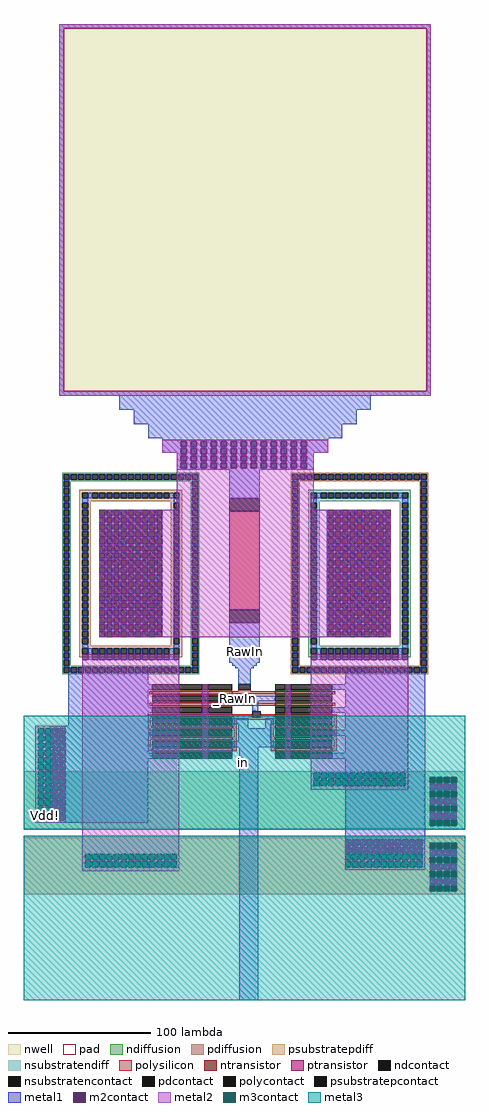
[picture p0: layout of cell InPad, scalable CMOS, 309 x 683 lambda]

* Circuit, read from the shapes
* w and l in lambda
.subckt InPad GND! RawIn Vdd! _RawIn in
M1 in _RawIn GND! GND! nfet w=40 l=2 m=4
M2 _RawIn RawIn GND! GND! nfet w=40 l=2 m=2
M3 in _RawIn Vdd! Vdd! pfet w=56 l=2 m=4
M4 _RawIn RawIn Vdd! Vdd! pfet w=56 l=2 m=2
.ends

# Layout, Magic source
magic
tech scmos
<< ntransistor >>
rect 144 -152 184 -150
rect 144 -160 184 -158
rect 144 -168 184 -166
rect 144 -176 184 -174
rect 144 -184 184 -182
rect 144 -192 184 -190
<< ptransistor >>
rect 58 -152 114 -150
rect 58 -160 114 -158
rect 58 -168 114 -166
rect 58 -176 114 -174
rect 58 -184 114 -182
rect 58 -192 114 -190
<< ndiffusion >>
rect 151 -149 155 -145
rect 144 -150 184 -149
rect 144 -153 184 -152
rect 144 -158 184 -157
rect 144 -161 184 -160
rect 151 -165 155 -161
rect 144 -166 184 -165
rect 144 -169 184 -168
rect 144 -174 184 -173
rect 144 -177 184 -176
rect 151 -181 155 -177
rect 144 -182 184 -181
rect 144 -185 184 -184
rect 144 -190 184 -189
rect 144 -193 184 -192
rect 151 -197 155 -193
<< pdiffusion >>
rect 93 -149 97 -145
rect 58 -150 114 -149
rect 58 -153 114 -152
rect 58 -158 114 -157
rect 58 -161 114 -160
rect 93 -165 97 -161
rect 58 -166 114 -165
rect 58 -169 114 -168
rect 58 -174 114 -173
rect 58 -177 114 -176
rect 93 -181 97 -177
rect 58 -182 114 -181
rect 58 -185 114 -184
rect 58 -190 114 -189
rect 58 -193 114 -192
rect 93 -197 97 -193
<< ndcontact >>
rect 144 -149 151 -145
rect 155 -149 184 -145
rect 144 -157 184 -153
rect 144 -165 151 -161
rect 155 -165 184 -161
rect 144 -173 184 -169
rect 144 -181 151 -177
rect 155 -181 184 -177
rect 144 -189 184 -185
rect 144 -197 151 -193
rect 155 -197 184 -193
<< pdcontact >>
rect 58 -149 93 -145
rect 97 -149 114 -145
rect 58 -157 114 -153
rect 58 -165 93 -161
rect 97 -165 114 -161
rect 58 -173 114 -169
rect 58 -181 93 -177
rect 97 -181 114 -177
rect 58 -189 114 -185
rect 58 -197 93 -193
rect 97 -197 114 -193
<< polysilicon >>
rect 112 -93 133 -24
rect 118 -150 127 -149
rect 56 -152 58 -150
rect 114 -152 144 -150
rect 184 -152 186 -150
rect 121 -158 123 -152
rect 56 -160 58 -158
rect 114 -160 144 -158
rect 184 -160 186 -158
rect 55 -168 58 -166
rect 114 -168 128 -166
rect 134 -168 144 -166
rect 184 -168 187 -166
rect 55 -174 57 -168
rect 115 -170 143 -168
rect 115 -174 117 -170
rect 55 -176 58 -174
rect 114 -176 117 -174
rect 55 -182 57 -176
rect 115 -182 117 -176
rect 55 -184 58 -182
rect 114 -184 117 -182
rect 55 -190 57 -184
rect 115 -190 117 -184
rect 55 -192 58 -190
rect 114 -192 117 -190
rect 141 -174 143 -170
rect 185 -174 187 -168
rect 141 -176 144 -174
rect 184 -176 187 -174
rect 141 -182 143 -176
rect 185 -182 187 -176
rect 141 -184 144 -182
rect 184 -184 187 -182
rect 141 -190 143 -184
rect 185 -190 187 -184
rect 141 -192 144 -190
rect 184 -192 187 -190
<< polycontact >>
rect 112 -24 133 -15
rect 112 -102 133 -93
rect 118 -149 127 -145
rect 128 -168 134 -164
<< metal1 >>
rect 65 25 181 26
rect 65 21 78 25
rect 82 21 85 25
rect 89 21 92 25
rect 96 21 99 25
rect 103 21 106 25
rect 110 21 113 25
rect 117 21 120 25
rect 124 21 127 25
rect 131 21 134 25
rect 138 21 141 25
rect 145 21 148 25
rect 152 21 155 25
rect 159 21 162 25
rect 166 21 181 25
rect 65 20 181 21
rect 65 17 78 20
rect 75 16 78 17
rect 82 16 85 20
rect 89 16 92 20
rect 96 16 99 20
rect 103 16 106 20
rect 110 16 113 20
rect 117 16 120 20
rect 124 16 127 20
rect 131 16 134 20
rect 138 16 141 20
rect 145 16 148 20
rect 152 16 155 20
rect 159 16 162 20
rect 166 17 181 20
rect 166 16 171 17
rect 75 15 171 16
rect 75 11 78 15
rect 82 11 85 15
rect 89 11 92 15
rect 96 11 99 15
rect 103 11 106 15
rect 110 11 113 15
rect 117 11 120 15
rect 124 11 127 15
rect 131 11 134 15
rect 138 11 141 15
rect 145 11 148 15
rect 152 11 155 15
rect 159 11 162 15
rect 166 11 171 15
rect 75 10 171 11
rect 75 6 78 10
rect 82 6 85 10
rect 89 6 92 10
rect 96 6 99 10
rect 103 6 106 10
rect 110 6 113 10
rect 117 6 120 10
rect 124 6 127 10
rect 131 6 134 10
rect 138 6 141 10
rect 145 6 148 10
rect 152 6 155 10
rect 159 6 162 10
rect 166 6 171 10
rect 75 5 171 6
rect 112 -15 133 5
rect 13 -128 16 -124
rect 20 -128 21 -124
rect 25 -128 26 -124
rect 30 -128 31 -124
rect 35 -128 36 -124
rect 40 -128 41 -124
rect 45 -128 46 -124
rect 50 -128 51 -124
rect 55 -128 56 -124
rect 60 -128 61 -124
rect 65 -128 66 -124
rect 70 -128 73 -124
rect 112 -130 133 -102
rect 173 -128 176 -124
rect 180 -128 181 -124
rect 185 -128 186 -124
rect 190 -128 191 -124
rect 195 -128 196 -124
rect 200 -128 201 -124
rect 205 -128 206 -124
rect 210 -128 211 -124
rect 215 -128 216 -124
rect 220 -128 221 -124
rect 225 -128 226 -124
rect 230 -128 233 -124
rect 114 -132 131 -130
rect 116 -134 129 -132
rect -1 -145 55 -137
rect 118 -145 127 -134
rect 193 -145 249 -137
rect -1 -149 58 -145
rect 184 -149 249 -145
rect -1 -161 55 -149
rect 114 -157 144 -153
rect -1 -165 58 -161
rect 128 -164 132 -157
rect 193 -161 249 -149
rect -1 -174 55 -165
rect 184 -165 249 -161
rect 114 -173 125 -169
rect -13 -176 55 -174
rect -13 -180 -12 -176
rect -8 -180 -7 -176
rect -3 -177 55 -176
rect 118 -176 125 -173
rect 137 -173 144 -169
rect 137 -176 141 -173
rect -3 -180 58 -177
rect -13 -181 58 -180
rect -13 -185 -12 -181
rect -8 -185 -7 -181
rect -3 -185 55 -181
rect 118 -185 141 -176
rect 193 -177 249 -165
rect 184 -181 249 -177
rect -13 -186 55 -185
rect -13 -190 -12 -186
rect -8 -190 -7 -186
rect -3 -190 55 -186
rect 114 -189 144 -185
rect -13 -191 55 -190
rect -13 -195 -12 -191
rect -8 -195 -7 -191
rect -3 -193 55 -191
rect -3 -195 58 -193
rect -13 -196 58 -195
rect -13 -200 -12 -196
rect -8 -200 -7 -196
rect -3 -197 58 -196
rect -3 -200 55 -197
rect -13 -201 55 -200
rect -13 -205 -12 -201
rect -8 -205 -7 -201
rect -3 -205 55 -201
rect -13 -206 55 -205
rect -13 -210 -12 -206
rect -8 -210 -7 -206
rect -3 -210 55 -206
rect -13 -211 55 -210
rect -13 -215 -12 -211
rect -8 -215 -7 -211
rect -3 -215 55 -211
rect -13 -216 55 -215
rect -13 -220 -12 -216
rect -8 -220 -7 -216
rect -3 -220 55 -216
rect -13 -221 55 -220
rect -13 -225 -12 -221
rect -8 -225 -7 -221
rect -3 -225 55 -221
rect -13 -226 55 -225
rect -13 -230 -12 -226
rect -8 -230 -7 -226
rect -3 -230 55 -226
rect -13 -231 55 -230
rect -13 -235 -12 -231
rect -8 -235 -7 -231
rect -3 -235 55 -231
rect -13 -236 55 -235
rect -13 -240 -12 -236
rect -8 -240 -7 -236
rect -3 -240 55 -236
rect -13 -242 55 -240
rect 119 -366 132 -189
rect 193 -193 249 -181
rect 184 -197 249 -193
rect 193 -254 249 -197
rect 197 -258 198 -254
rect 202 -258 203 -254
rect 207 -258 208 -254
rect 212 -258 213 -254
rect 217 -258 218 -254
rect 222 -258 223 -254
rect 227 -258 228 -254
rect 232 -258 233 -254
rect 237 -258 238 -254
rect 242 -258 243 -254
rect 247 -258 249 -254
rect 193 -259 249 -258
rect 197 -263 198 -259
rect 202 -263 203 -259
rect 207 -263 208 -259
rect 212 -263 213 -259
rect 217 -263 218 -259
rect 222 -263 223 -259
rect 227 -263 228 -259
rect 232 -263 233 -259
rect 237 -263 238 -259
rect 242 -263 243 -259
rect 247 -263 249 -259
rect 193 -264 249 -263
<< m2contact >>
rect 78 21 82 25
rect 85 21 89 25
rect 92 21 96 25
rect 99 21 103 25
rect 106 21 110 25
rect 113 21 117 25
rect 120 21 124 25
rect 127 21 131 25
rect 134 21 138 25
rect 141 21 145 25
rect 148 21 152 25
rect 155 21 159 25
rect 162 21 166 25
rect 78 16 82 20
rect 85 16 89 20
rect 92 16 96 20
rect 99 16 103 20
rect 106 16 110 20
rect 113 16 117 20
rect 120 16 124 20
rect 127 16 131 20
rect 134 16 138 20
rect 141 16 145 20
rect 148 16 152 20
rect 155 16 159 20
rect 162 16 166 20
rect 78 11 82 15
rect 85 11 89 15
rect 92 11 96 15
rect 99 11 103 15
rect 106 11 110 15
rect 113 11 117 15
rect 120 11 124 15
rect 127 11 131 15
rect 134 11 138 15
rect 141 11 145 15
rect 148 11 152 15
rect 155 11 159 15
rect 162 11 166 15
rect 78 6 82 10
rect 85 6 89 10
rect 92 6 96 10
rect 99 6 103 10
rect 106 6 110 10
rect 113 6 117 10
rect 120 6 124 10
rect 127 6 131 10
rect 134 6 138 10
rect 141 6 145 10
rect 148 6 152 10
rect 155 6 159 10
rect 162 6 166 10
rect 9 -128 13 -124
rect 16 -128 20 -124
rect 21 -128 25 -124
rect 26 -128 30 -124
rect 31 -128 35 -124
rect 36 -128 40 -124
rect 41 -128 45 -124
rect 46 -128 50 -124
rect 51 -128 55 -124
rect 56 -128 60 -124
rect 61 -128 65 -124
rect 66 -128 70 -124
rect 73 -128 77 -124
rect 169 -128 173 -124
rect 176 -128 180 -124
rect 181 -128 185 -124
rect 186 -128 190 -124
rect 191 -128 195 -124
rect 196 -128 200 -124
rect 201 -128 205 -124
rect 206 -128 210 -124
rect 211 -128 215 -124
rect 216 -128 220 -124
rect 221 -128 225 -124
rect 226 -128 230 -124
rect 233 -128 237 -124
rect 93 -149 97 -145
rect 151 -149 155 -145
rect 93 -165 97 -161
rect 151 -165 155 -161
rect -12 -180 -8 -176
rect -7 -180 -3 -176
rect 93 -181 97 -177
rect -12 -185 -8 -181
rect -7 -185 -3 -181
rect 151 -181 155 -177
rect -12 -190 -8 -186
rect -7 -190 -3 -186
rect -12 -195 -8 -191
rect -7 -195 -3 -191
rect -12 -200 -8 -196
rect -7 -200 -3 -196
rect 93 -197 97 -193
rect -12 -205 -8 -201
rect -7 -205 -3 -201
rect -12 -210 -8 -206
rect -7 -210 -3 -206
rect -12 -215 -8 -211
rect -7 -215 -3 -211
rect -12 -220 -8 -216
rect -7 -220 -3 -216
rect -12 -225 -8 -221
rect -7 -225 -3 -221
rect -12 -230 -8 -226
rect -7 -230 -3 -226
rect -12 -235 -8 -231
rect -7 -235 -3 -231
rect -12 -240 -8 -236
rect -7 -240 -3 -236
rect 151 -197 155 -193
rect 193 -258 197 -254
rect 198 -258 202 -254
rect 203 -258 207 -254
rect 208 -258 212 -254
rect 213 -258 217 -254
rect 218 -258 222 -254
rect 223 -258 227 -254
rect 228 -258 232 -254
rect 233 -258 237 -254
rect 238 -258 242 -254
rect 243 -258 247 -254
rect 193 -263 197 -259
rect 198 -263 202 -259
rect 203 -263 207 -259
rect 208 -263 212 -259
rect 213 -263 217 -259
rect 218 -263 222 -259
rect 223 -263 227 -259
rect 228 -263 232 -259
rect 233 -263 237 -259
rect 238 -263 242 -259
rect 243 -263 247 -259
<< metal2 >>
rect 65 25 181 26
rect 65 21 78 25
rect 82 21 85 25
rect 89 21 92 25
rect 96 21 99 25
rect 103 21 106 25
rect 110 21 113 25
rect 117 21 120 25
rect 124 21 127 25
rect 131 21 134 25
rect 138 21 141 25
rect 145 21 148 25
rect 152 21 155 25
rect 159 21 162 25
rect 166 21 181 25
rect 65 20 181 21
rect 65 17 78 20
rect 75 16 78 17
rect 82 16 85 20
rect 89 16 92 20
rect 96 16 99 20
rect 103 16 106 20
rect 110 16 113 20
rect 117 16 120 20
rect 124 16 127 20
rect 131 16 134 20
rect 138 16 141 20
rect 145 16 148 20
rect 152 16 155 20
rect 159 16 162 20
rect 166 17 181 20
rect 166 16 171 17
rect 75 15 171 16
rect 75 11 78 15
rect 82 11 85 15
rect 89 11 92 15
rect 96 11 99 15
rect 103 11 106 15
rect 110 11 113 15
rect 117 11 120 15
rect 124 11 127 15
rect 131 11 134 15
rect 138 11 141 15
rect 145 11 148 15
rect 152 11 155 15
rect 159 11 162 15
rect 166 11 171 15
rect 75 10 171 11
rect 75 6 78 10
rect 82 6 85 10
rect 89 6 92 10
rect 96 6 99 10
rect 103 6 106 10
rect 110 6 113 10
rect 117 6 120 10
rect 124 6 127 10
rect 131 6 134 10
rect 138 6 141 10
rect 145 6 148 10
rect 152 6 155 10
rect 159 6 162 10
rect 166 6 171 10
rect 75 -23 171 6
rect 65 -112 181 -23
rect 13 -128 16 -124
rect 20 -128 21 -124
rect 25 -128 26 -124
rect 30 -128 31 -124
rect 35 -128 36 -124
rect 40 -128 41 -124
rect 45 -128 46 -124
rect 50 -128 51 -124
rect 55 -128 56 -124
rect 60 -128 61 -124
rect 65 -128 66 -124
rect 70 -128 73 -124
rect -24 -176 -3 -174
rect -24 -180 -22 -176
rect -18 -180 -17 -176
rect -13 -180 -12 -176
rect -8 -180 -7 -176
rect -24 -181 -3 -180
rect -24 -185 -22 -181
rect -18 -185 -17 -181
rect -13 -185 -12 -181
rect -8 -185 -7 -181
rect -24 -186 -3 -185
rect -24 -190 -22 -186
rect -18 -190 -17 -186
rect -13 -190 -12 -186
rect -8 -190 -7 -186
rect -24 -191 -3 -190
rect -24 -195 -22 -191
rect -18 -195 -17 -191
rect -13 -195 -12 -191
rect -8 -195 -7 -191
rect -24 -196 -3 -195
rect -24 -200 -22 -196
rect -18 -200 -17 -196
rect -13 -200 -12 -196
rect -8 -200 -7 -196
rect -24 -201 -3 -200
rect -24 -205 -22 -201
rect -18 -205 -17 -201
rect -13 -205 -12 -201
rect -8 -205 -7 -201
rect -24 -206 -3 -205
rect -24 -210 -22 -206
rect -18 -210 -17 -206
rect -13 -210 -12 -206
rect -8 -210 -7 -206
rect -24 -211 -3 -210
rect -24 -215 -22 -211
rect -18 -215 -17 -211
rect -13 -215 -12 -211
rect -8 -215 -7 -211
rect -24 -216 -3 -215
rect -24 -220 -22 -216
rect -18 -220 -17 -216
rect -13 -220 -12 -216
rect -8 -220 -7 -216
rect -24 -221 -3 -220
rect -24 -225 -22 -221
rect -18 -225 -17 -221
rect -13 -225 -12 -221
rect -8 -225 -7 -221
rect -24 -226 -3 -225
rect -24 -230 -22 -226
rect -18 -230 -17 -226
rect -13 -230 -12 -226
rect -8 -230 -7 -226
rect -24 -231 -3 -230
rect -24 -235 -22 -231
rect -18 -235 -17 -231
rect -13 -235 -12 -231
rect -8 -235 -7 -231
rect -24 -236 -3 -235
rect -24 -240 -22 -236
rect -18 -240 -17 -236
rect -13 -240 -12 -236
rect -8 -240 -7 -236
rect -24 -242 -3 -240
rect 9 -264 77 -128
rect 173 -128 176 -124
rect 180 -128 181 -124
rect 185 -128 186 -124
rect 190 -128 191 -124
rect 195 -128 196 -124
rect 200 -128 201 -124
rect 205 -128 206 -124
rect 210 -128 211 -124
rect 215 -128 216 -124
rect 220 -128 221 -124
rect 225 -128 226 -124
rect 230 -128 233 -124
rect 93 -161 97 -149
rect 93 -177 97 -165
rect 93 -193 97 -181
rect 151 -161 155 -149
rect 151 -177 155 -165
rect 151 -193 155 -181
rect 169 -207 237 -128
rect 169 -211 171 -207
rect 175 -211 176 -207
rect 180 -211 181 -207
rect 185 -211 186 -207
rect 190 -211 191 -207
rect 195 -211 196 -207
rect 200 -211 201 -207
rect 205 -211 206 -207
rect 210 -211 211 -207
rect 215 -211 216 -207
rect 220 -211 221 -207
rect 225 -211 226 -207
rect 230 -211 231 -207
rect 235 -211 237 -207
rect 169 -212 237 -211
rect 169 -216 171 -212
rect 175 -216 176 -212
rect 180 -216 181 -212
rect 185 -216 186 -212
rect 190 -216 191 -212
rect 195 -216 196 -212
rect 200 -216 201 -212
rect 205 -216 206 -212
rect 210 -216 211 -212
rect 215 -216 216 -212
rect 220 -216 221 -212
rect 225 -216 226 -212
rect 230 -216 231 -212
rect 235 -216 237 -212
rect 169 -219 237 -216
rect 9 -268 11 -264
rect 15 -268 16 -264
rect 20 -268 21 -264
rect 25 -268 26 -264
rect 30 -268 31 -264
rect 35 -268 36 -264
rect 40 -268 41 -264
rect 45 -268 46 -264
rect 50 -268 51 -264
rect 55 -268 56 -264
rect 60 -268 61 -264
rect 65 -268 66 -264
rect 70 -268 71 -264
rect 75 -268 77 -264
rect 9 -269 77 -268
rect 9 -273 11 -269
rect 15 -273 16 -269
rect 20 -273 21 -269
rect 25 -273 26 -269
rect 30 -273 31 -269
rect 35 -273 36 -269
rect 40 -273 41 -269
rect 45 -273 46 -269
rect 50 -273 51 -269
rect 55 -273 56 -269
rect 60 -273 61 -269
rect 65 -273 66 -269
rect 70 -273 71 -269
rect 75 -273 77 -269
rect 9 -276 77 -273
rect 197 -258 198 -254
rect 202 -258 203 -254
rect 207 -258 208 -254
rect 212 -258 213 -254
rect 217 -258 218 -254
rect 222 -258 223 -254
rect 227 -258 228 -254
rect 232 -258 233 -254
rect 237 -258 238 -254
rect 242 -258 243 -254
rect 247 -258 249 -254
rect 193 -259 249 -258
rect 197 -263 198 -259
rect 202 -263 203 -259
rect 207 -263 208 -259
rect 212 -263 213 -259
rect 217 -263 218 -259
rect 222 -263 223 -259
rect 227 -263 228 -259
rect 232 -263 233 -259
rect 237 -263 238 -259
rect 242 -263 243 -259
rect 247 -263 249 -259
rect 193 -264 249 -263
rect 197 -268 198 -264
rect 202 -268 203 -264
rect 207 -268 208 -264
rect 212 -268 213 -264
rect 217 -268 218 -264
rect 222 -268 223 -264
rect 227 -268 228 -264
rect 232 -268 233 -264
rect 237 -268 238 -264
rect 242 -268 243 -264
rect 247 -268 249 -264
rect 193 -269 249 -268
rect 197 -273 198 -269
rect 202 -273 203 -269
rect 207 -273 208 -269
rect 212 -273 213 -269
rect 217 -273 218 -269
rect 222 -273 223 -269
rect 227 -273 228 -269
rect 232 -273 233 -269
rect 237 -273 238 -269
rect 242 -273 243 -269
rect 247 -273 249 -269
rect 193 -275 249 -273
<< m3contact >>
rect -22 -180 -18 -176
rect -17 -180 -13 -176
rect -22 -185 -18 -181
rect -17 -185 -13 -181
rect -22 -190 -18 -186
rect -17 -190 -13 -186
rect -22 -195 -18 -191
rect -17 -195 -13 -191
rect -22 -200 -18 -196
rect -17 -200 -13 -196
rect -22 -205 -18 -201
rect -17 -205 -13 -201
rect -22 -210 -18 -206
rect -17 -210 -13 -206
rect -22 -215 -18 -211
rect -17 -215 -13 -211
rect -22 -220 -18 -216
rect -17 -220 -13 -216
rect -22 -225 -18 -221
rect -17 -225 -13 -221
rect -22 -230 -18 -226
rect -17 -230 -13 -226
rect -22 -235 -18 -231
rect -17 -235 -13 -231
rect -22 -240 -18 -236
rect -17 -240 -13 -236
rect 171 -211 175 -207
rect 176 -211 180 -207
rect 181 -211 185 -207
rect 186 -211 190 -207
rect 191 -211 195 -207
rect 196 -211 200 -207
rect 201 -211 205 -207
rect 206 -211 210 -207
rect 211 -211 215 -207
rect 216 -211 220 -207
rect 221 -211 225 -207
rect 226 -211 230 -207
rect 231 -211 235 -207
rect 171 -216 175 -212
rect 176 -216 180 -212
rect 181 -216 185 -212
rect 186 -216 190 -212
rect 191 -216 195 -212
rect 196 -216 200 -212
rect 201 -216 205 -212
rect 206 -216 210 -212
rect 211 -216 215 -212
rect 216 -216 220 -212
rect 221 -216 225 -212
rect 226 -216 230 -212
rect 231 -216 235 -212
rect 11 -268 15 -264
rect 16 -268 20 -264
rect 21 -268 25 -264
rect 26 -268 30 -264
rect 31 -268 35 -264
rect 36 -268 40 -264
rect 41 -268 45 -264
rect 46 -268 50 -264
rect 51 -268 55 -264
rect 56 -268 60 -264
rect 61 -268 65 -264
rect 66 -268 70 -264
rect 71 -268 75 -264
rect 11 -273 15 -269
rect 16 -273 20 -269
rect 21 -273 25 -269
rect 26 -273 30 -269
rect 31 -273 35 -269
rect 36 -273 40 -269
rect 41 -273 45 -269
rect 46 -273 50 -269
rect 51 -273 55 -269
rect 56 -273 60 -269
rect 61 -273 65 -269
rect 66 -273 70 -269
rect 71 -273 75 -269
rect 193 -268 197 -264
rect 198 -268 202 -264
rect 203 -268 207 -264
rect 208 -268 212 -264
rect 213 -268 217 -264
rect 218 -268 222 -264
rect 223 -268 227 -264
rect 228 -268 232 -264
rect 233 -268 237 -264
rect 238 -268 242 -264
rect 243 -268 247 -264
rect 193 -273 197 -269
rect 198 -273 202 -269
rect 203 -273 207 -269
rect 208 -273 212 -269
rect 213 -273 217 -269
rect 218 -273 222 -269
rect 223 -273 227 -269
rect 228 -273 232 -269
rect 233 -273 237 -269
rect 238 -273 242 -269
rect 243 -273 247 -269
<< metal3 >>
rect -24 -176 -12 -174
rect -24 -180 -22 -176
rect -18 -180 -17 -176
rect -13 -180 -12 -176
rect -24 -181 -12 -180
rect -24 -185 -22 -181
rect -18 -185 -17 -181
rect -13 -185 -12 -181
rect -24 -186 -12 -185
rect -24 -190 -22 -186
rect -18 -190 -17 -186
rect -13 -190 -12 -186
rect -24 -191 -12 -190
rect -24 -195 -22 -191
rect -18 -195 -17 -191
rect -13 -195 -12 -191
rect -24 -196 -12 -195
rect -24 -200 -22 -196
rect -18 -200 -17 -196
rect -13 -200 -12 -196
rect -24 -201 -12 -200
rect -24 -205 -22 -201
rect -18 -205 -17 -201
rect -13 -205 -12 -201
rect -24 -206 -12 -205
rect -24 -210 -22 -206
rect -18 -210 -17 -206
rect -13 -210 -12 -206
rect -24 -211 -12 -210
rect -24 -215 -22 -211
rect -18 -215 -17 -211
rect -13 -215 -12 -211
rect -24 -216 -12 -215
rect -24 -220 -22 -216
rect -18 -220 -17 -216
rect -13 -220 -12 -216
rect 169 -207 237 -206
rect 169 -211 171 -207
rect 175 -211 176 -207
rect 180 -211 181 -207
rect 185 -211 186 -207
rect 190 -211 191 -207
rect 195 -211 196 -207
rect 200 -211 201 -207
rect 205 -211 206 -207
rect 210 -211 211 -207
rect 215 -211 216 -207
rect 220 -211 221 -207
rect 225 -211 226 -207
rect 230 -211 231 -207
rect 235 -211 237 -207
rect 169 -212 237 -211
rect 169 -216 171 -212
rect 175 -216 176 -212
rect 180 -216 181 -212
rect 185 -216 186 -212
rect 190 -216 191 -212
rect 195 -216 196 -212
rect 200 -216 201 -212
rect 205 -216 206 -212
rect 210 -216 211 -212
rect 215 -216 216 -212
rect 220 -216 221 -212
rect 225 -216 226 -212
rect 230 -216 231 -212
rect 235 -216 237 -212
rect 169 -219 237 -216
rect -24 -221 -12 -220
rect -24 -225 -22 -221
rect -18 -225 -17 -221
rect -13 -225 -12 -221
rect -24 -226 -12 -225
rect -24 -230 -22 -226
rect -18 -230 -17 -226
rect -13 -230 -12 -226
rect -24 -231 -12 -230
rect -24 -235 -22 -231
rect -18 -235 -17 -231
rect -13 -235 -12 -231
rect -24 -236 -12 -235
rect -24 -240 -22 -236
rect -18 -240 -17 -236
rect -13 -240 -12 -236
rect -24 -243 -12 -240
rect 9 -264 77 -263
rect 9 -268 11 -264
rect 15 -268 16 -264
rect 20 -268 21 -264
rect 25 -268 26 -264
rect 30 -268 31 -264
rect 35 -268 36 -264
rect 40 -268 41 -264
rect 45 -268 46 -264
rect 50 -268 51 -264
rect 55 -268 56 -264
rect 60 -268 61 -264
rect 65 -268 66 -264
rect 70 -268 71 -264
rect 75 -268 77 -264
rect 9 -269 77 -268
rect 9 -273 11 -269
rect 15 -273 16 -269
rect 20 -273 21 -269
rect 25 -273 26 -269
rect 30 -273 31 -269
rect 35 -273 36 -269
rect 40 -273 41 -269
rect 45 -273 46 -269
rect 50 -273 51 -269
rect 55 -273 56 -269
rect 60 -273 61 -269
rect 65 -273 66 -269
rect 70 -273 71 -269
rect 75 -273 77 -269
rect 9 -276 77 -273
rect 192 -264 249 -262
rect 192 -268 193 -264
rect 197 -268 198 -264
rect 202 -268 203 -264
rect 207 -268 208 -264
rect 212 -268 213 -264
rect 217 -268 218 -264
rect 222 -268 223 -264
rect 227 -268 228 -264
rect 232 -268 233 -264
rect 237 -268 238 -264
rect 242 -268 243 -264
rect 247 -268 249 -264
rect 192 -269 249 -268
rect 192 -273 193 -269
rect 197 -273 198 -269
rect 202 -273 203 -269
rect 207 -273 208 -269
rect 212 -273 213 -269
rect 217 -273 218 -269
rect 222 -273 223 -269
rect 227 -273 228 -269
rect 232 -273 233 -269
rect 237 -273 238 -269
rect 242 -273 243 -269
rect 247 -273 249 -269
rect 192 -275 249 -273
use barepad  b
transform 1 0 -23 0 1 -697
box 16 702 276 1014
use ndiode  nd
transform 1 0 9 0 1 -125
box -14 -13 82 128
use pdiode  pd
transform 1 0 148 0 1 -129
box 7 -9 103 132
use barering  br
transform 1 0 -34 0 1 -343
box 2 -23 311 176
<< labels >>
rlabel metal3 -17 -237 -17 -237 1 Vdd!
rlabel metal1 123 -122 123 -122 1 RawIn
rlabel metal1 122 -200 122 -200 1 in
rlabel metal1 116 -155 116 -155 1 _RawIn
<< end >>

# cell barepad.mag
magic
tech scmos
<< nwell >>
rect 16 754 276 1014
<< metal1 >>
rect 16 1011 276 1014
rect 16 757 19 1011
rect 273 757 276 1011
rect 16 754 276 757
rect 58 744 234 754
rect 68 734 224 744
rect 78 724 214 734
rect 88 714 204 724
rect 98 702 194 714
<< metal2 >>
rect 16 1011 276 1014
rect 16 757 19 1011
rect 273 757 276 1011
rect 16 754 276 757
<< pad >>
rect 19 757 273 1011
<< end >>

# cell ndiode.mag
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
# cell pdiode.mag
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
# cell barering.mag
magic
tech scmos
<< psubstratepdiff >>
rect 2 87 311 91
rect 2 83 286 87
rect 290 83 291 87
rect 295 83 296 87
rect 300 83 301 87
rect 305 83 311 87
rect 2 77 311 83
rect 2 73 286 77
rect 290 73 291 77
rect 295 73 296 77
rect 300 73 301 77
rect 305 73 311 77
rect 2 67 311 73
rect 2 63 286 67
rect 290 63 291 67
rect 295 63 296 67
rect 300 63 301 67
rect 305 63 311 67
rect 2 57 311 63
rect 2 53 286 57
rect 290 53 291 57
rect 295 53 296 57
rect 300 53 301 57
rect 305 53 311 57
rect 2 51 311 53
<< nsubstratendiff >>
rect 2 133 311 137
rect 2 129 286 133
rect 290 129 291 133
rect 295 129 296 133
rect 300 129 301 133
rect 305 129 311 133
rect 2 123 311 129
rect 2 119 286 123
rect 290 119 291 123
rect 295 119 296 123
rect 300 119 301 123
rect 305 119 311 123
rect 2 113 311 119
rect 2 109 286 113
rect 290 109 291 113
rect 295 109 296 113
rect 300 109 301 113
rect 305 109 311 113
rect 2 103 311 109
rect 2 99 286 103
rect 290 99 291 103
rect 295 99 296 103
rect 300 99 301 103
rect 305 99 311 103
rect 2 97 311 99
<< psubstratepcontact >>
rect 286 83 290 87
rect 291 83 295 87
rect 296 83 300 87
rect 301 83 305 87
rect 286 73 290 77
rect 291 73 295 77
rect 296 73 300 77
rect 301 73 305 77
rect 286 63 290 67
rect 291 63 295 67
rect 296 63 300 67
rect 301 63 305 67
rect 286 53 290 57
rect 291 53 295 57
rect 296 53 300 57
rect 301 53 305 57
<< nsubstratencontact >>
rect 286 129 290 133
rect 291 129 295 133
rect 296 129 300 133
rect 301 129 305 133
rect 286 119 290 123
rect 291 119 295 123
rect 296 119 300 123
rect 301 119 305 123
rect 286 109 290 113
rect 291 109 295 113
rect 296 109 300 113
rect 301 109 305 113
rect 286 99 290 103
rect 291 99 295 103
rect 296 99 300 103
rect 301 99 305 103
<< metal1 >>
rect 290 129 291 133
rect 295 129 296 133
rect 300 129 301 133
rect 286 128 305 129
rect 290 124 291 128
rect 295 124 296 128
rect 300 124 301 128
rect 286 123 305 124
rect 290 119 291 123
rect 295 119 296 123
rect 300 119 301 123
rect 286 118 305 119
rect 290 114 291 118
rect 295 114 296 118
rect 300 114 301 118
rect 286 113 305 114
rect 290 109 291 113
rect 295 109 296 113
rect 300 109 301 113
rect 286 108 305 109
rect 290 104 291 108
rect 295 104 296 108
rect 300 104 301 108
rect 286 103 305 104
rect 290 99 291 103
rect 295 99 296 103
rect 300 99 301 103
rect 290 83 291 87
rect 295 83 296 87
rect 300 83 301 87
rect 286 82 305 83
rect 290 78 291 82
rect 295 78 296 82
rect 300 78 301 82
rect 286 77 305 78
rect 290 73 291 77
rect 295 73 296 77
rect 300 73 301 77
rect 286 72 305 73
rect 290 68 291 72
rect 295 68 296 72
rect 300 68 301 72
rect 286 67 305 68
rect 290 63 291 67
rect 295 63 296 67
rect 300 63 301 67
rect 286 62 305 63
rect 290 58 291 62
rect 295 58 296 62
rect 300 58 301 62
rect 286 57 305 58
rect 290 53 291 57
rect 295 53 296 57
rect 300 53 301 57
<< m2contact >>
rect 286 124 290 128
rect 291 124 295 128
rect 296 124 300 128
rect 301 124 305 128
rect 286 114 290 118
rect 291 114 295 118
rect 296 114 300 118
rect 301 114 305 118
rect 286 104 290 108
rect 291 104 295 108
rect 296 104 300 108
rect 301 104 305 108
rect 286 78 290 82
rect 291 78 295 82
rect 296 78 300 82
rect 301 78 305 82
rect 286 68 290 72
rect 291 68 295 72
rect 296 68 300 72
rect 301 68 305 72
rect 286 58 290 62
rect 291 58 295 62
rect 296 58 300 62
rect 301 58 305 62
<< metal2 >>
rect 290 129 291 133
rect 295 129 296 133
rect 300 129 301 133
rect 286 128 305 129
rect 290 124 291 128
rect 295 124 296 128
rect 300 124 301 128
rect 286 123 305 124
rect 290 119 291 123
rect 295 119 296 123
rect 300 119 301 123
rect 286 118 305 119
rect 290 114 291 118
rect 295 114 296 118
rect 300 114 301 118
rect 286 113 305 114
rect 290 109 291 113
rect 295 109 296 113
rect 300 109 301 113
rect 286 108 305 109
rect 290 104 291 108
rect 295 104 296 108
rect 300 104 301 108
rect 286 103 305 104
rect 290 99 291 103
rect 295 99 296 103
rect 300 99 301 103
rect 290 83 291 87
rect 295 83 296 87
rect 300 83 301 87
rect 286 82 305 83
rect 290 78 291 82
rect 295 78 296 82
rect 300 78 301 82
rect 286 77 305 78
rect 290 73 291 77
rect 295 73 296 77
rect 300 73 301 77
rect 286 72 305 73
rect 290 68 291 72
rect 295 68 296 72
rect 300 68 301 72
rect 286 67 305 68
rect 290 63 291 67
rect 295 63 296 67
rect 300 63 301 67
rect 286 62 305 63
rect 290 58 291 62
rect 295 58 296 62
rect 300 58 301 62
rect 286 57 305 58
rect 290 53 291 57
rect 295 53 296 57
rect 300 53 301 57
<< m3contact >>
rect 286 129 290 133
rect 291 129 295 133
rect 296 129 300 133
rect 301 129 305 133
rect 286 119 290 123
rect 291 119 295 123
rect 296 119 300 123
rect 301 119 305 123
rect 286 109 290 113
rect 291 109 295 113
rect 296 109 300 113
rect 301 109 305 113
rect 286 99 290 103
rect 291 99 295 103
rect 296 99 300 103
rect 301 99 305 103
rect 286 83 290 87
rect 291 83 295 87
rect 296 83 300 87
rect 301 83 305 87
rect 286 73 290 77
rect 291 73 295 77
rect 296 73 300 77
rect 301 73 305 77
rect 286 63 290 67
rect 291 63 295 67
rect 296 63 300 67
rect 301 63 305 67
rect 286 53 290 57
rect 291 53 295 57
rect 296 53 300 57
rect 301 53 305 57
<< metal3 >>
rect 2 133 311 176
rect 2 129 286 133
rect 290 129 291 133
rect 295 129 296 133
rect 300 129 301 133
rect 305 129 311 133
rect 2 123 311 129
rect 2 119 286 123
rect 290 119 291 123
rect 295 119 296 123
rect 300 119 301 123
rect 305 119 311 123
rect 2 113 311 119
rect 2 109 286 113
rect 290 109 291 113
rect 295 109 296 113
rect 300 109 301 113
rect 305 109 311 113
rect 2 103 311 109
rect 2 99 286 103
rect 290 99 291 103
rect 295 99 296 103
rect 300 99 301 103
rect 305 99 311 103
rect 2 96 311 99
rect 2 87 311 92
rect 2 83 286 87
rect 290 83 291 87
rect 295 83 296 87
rect 300 83 301 87
rect 305 83 311 87
rect 2 77 311 83
rect 2 73 286 77
rect 290 73 291 77
rect 295 73 296 77
rect 300 73 301 77
rect 305 73 311 77
rect 2 67 311 73
rect 2 63 286 67
rect 290 63 291 67
rect 295 63 296 67
rect 300 63 301 67
rect 305 63 311 67
rect 2 57 311 63
rect 2 53 286 57
rect 290 53 291 57
rect 295 53 296 57
rect 300 53 301 57
rect 305 53 311 57
rect 2 -23 311 53
<< labels >>
rlabel metal3 16 107 16 107 1 Vdd!
rlabel metal3 15 81 15 81 1 GND!
<< end >>
